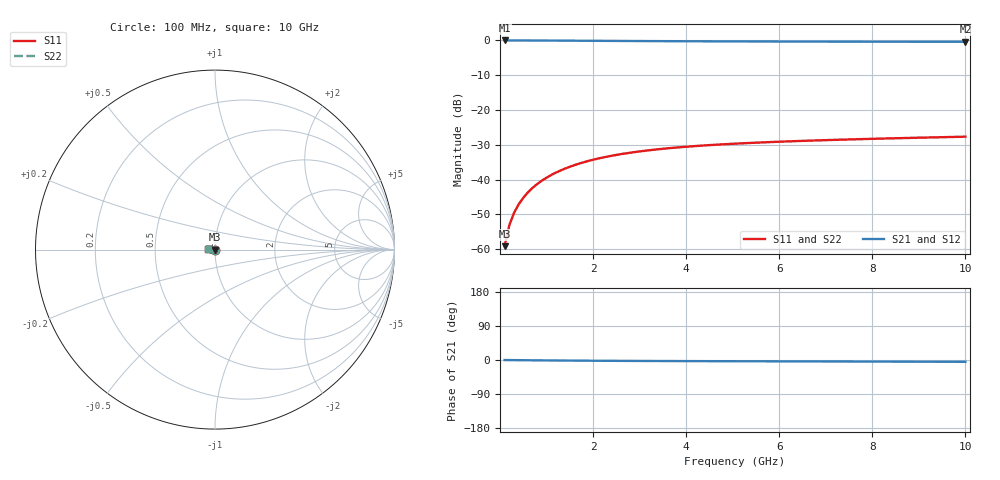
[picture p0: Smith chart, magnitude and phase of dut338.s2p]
! Touchstone file exported from HFSS 2024.1.0
!  File:  C:/UserFiles/LocalFiles/RDL_TSV_Batchsim/temp_TSV1_338_1779618734.aedt
!  Generated:  06:38:45 PM May 24, 2026
!  Design:  TSV1
!  Project:  temp_TSV1_338_1779618734
!  Setup:  Setup1
!  Solution:  Sweep
! Variables:
!  dtsv = 10.3um
!  hbump = 3um
!  htsv = 72.22um
!  lrdl = 252.1521522um
!  p = 40
!  p1 = 53.81um
!  t = 500um
!  trdl = 3um
!  wrdl = 24.89489489um
# GHz S MA R 50.000000
! Terminal data exported
! Port[1] = TSV22_T1
! Port[2] = TSV22_T2
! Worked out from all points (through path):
!   100 points, 100 MHz to 10 GHz, reference 50 ohm
!   highest |S21| = 0.00 dB at 100 MHz (marker M1); lowest = -0.4 dB at 10 GHz (marker M2)
!   lowest |S11| = -59.1 dB at 100 MHz (marker M3), VSWR 1.00, Z = 50 - j0.11 ohm
!   |S11| at or under -10 dB: start of sweep to end of sweep
!   |S22| runs from -59.1 to -27.7 dB; largest |S21 - S12| = 5.4e-15
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0.1  0.001105 -85.3  0.9998 -0.1  0.9998 -0.1  0.001105 -85.3
! Gamma 0 0 0 0
! Port Impedance 50 0 50 0
0.2  0.002201 -90.4  0.9997 -0.2  0.9997 -0.2  0.002201 -90.4
0.3  0.003297 -93.4  0.9995 -0.3  0.9995 -0.3  0.003297 -93.4
0.4  0.004389 -95.8  0.9992 -0.5  0.9992 -0.5  0.004389 -95.8
0.5  0.005473 -98.1  0.9989 -0.6  0.9989 -0.6  0.005473 -98.1
0.6  0.006544 -100.2  0.9985 -0.7  0.9985 -0.7  0.006544 -100.2
0.7  0.007601 -102.3  0.998 -0.8  0.998 -0.8  0.007601 -102.3
0.8  0.00864 -104.3  0.9975 -0.9  0.9975 -0.9  0.00864 -104.3
0.9  0.00966 -106.2  0.9969 -1.0  0.9969 -1.0  0.00966 -106.2
1.1  0.01164 -110.0  0.9956 -1.2  0.9956 -1.2  0.01164 -110.0
1.4  0.01442 -115.5  0.9934 -1.5  0.9934 -1.5  0.01442 -115.5
1.6  0.01615 -118.9  0.9918 -1.6  0.9918 -1.6  0.01615 -118.9
1.8  0.01777 -122.2  0.9902 -1.8  0.9902 -1.8  0.01777 -122.2
2.1  0.02 -126.9  0.9876 -2.0  0.9876 -2.0  0.02 -126.9
2.5  0.02263 -132.6  0.9843 -2.2  0.9843 -2.2  0.02263 -132.6
2.9  0.0249 -137.9  0.9812 -2.5  0.9812 -2.5  0.0249 -137.9
3.4  0.0273 -143.8  0.9776 -2.7  0.9776 -2.7  0.0273 -143.8
4.2  0.03035 -152.1  0.9727 -3.0  0.9727 -3.0  0.03035 -152.1
5.1  0.03298 -159.9  0.9684 -3.3  0.9684 -3.3  0.03298 -159.9
6.7  0.0364 -171.2  0.963 -3.8  0.963 -3.8  0.0364 -171.2
8.4  0.03916 179.1  0.9593 -4.3  0.9593 -4.3  0.03916 179.1
10  0.0414 171.5  0.9569 -4.8  0.9569 -4.8  0.0414 171.5
